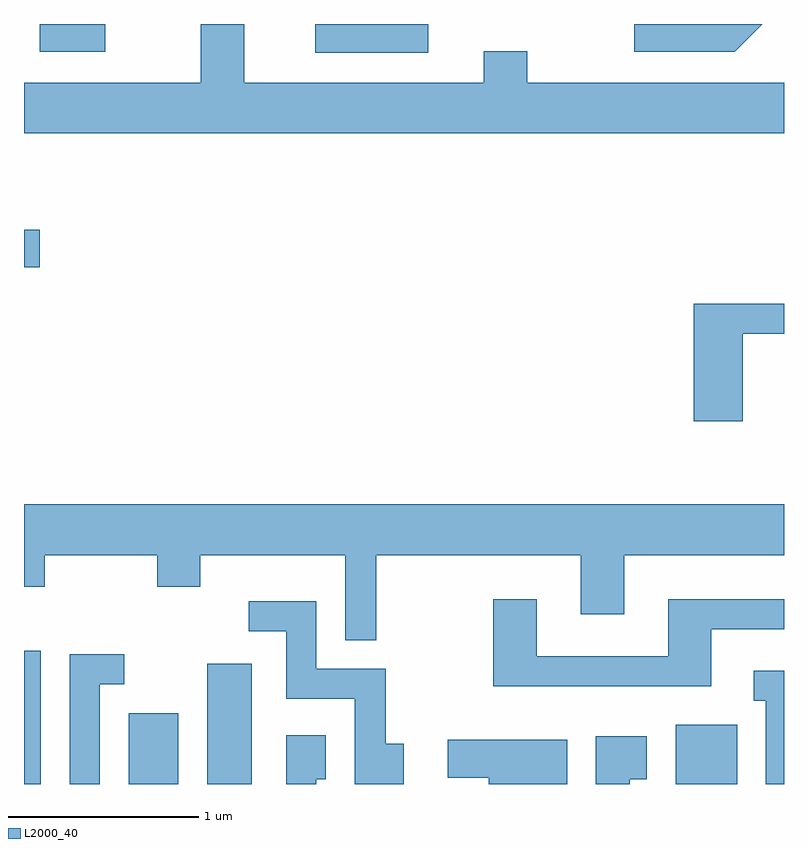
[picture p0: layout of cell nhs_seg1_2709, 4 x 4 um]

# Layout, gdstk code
import gdstk
lib = gdstk.Library(unit=1e-6, precision=1e-09)
def R(c, l, rs):  # rectangles x0, y0, x1, y1
    for r in rs: c.add(gdstk.rectangle(r[:2], r[2:], *l))
def P(c, l, *ps):  # polygons
    for p in ps: c.add(gdstk.Polygon(p, *l))
L2000_40 = (2000, 40)

nhs_seg1_2709 = lib.new_cell('nhs_seg1_2709')
R(nhs_seg1_2709, L2000_40, [(267.611,891.712,267.699,892.414), (268.161,891.712,268.424,892.084), (268.576,891.712,268.809,892.344), (271.041,891.712,271.364,892.024), (267.611,894.431,267.694,894.629), (269.143,895.561,269.739,895.712), (267.693,895.566,268.039,895.712)])
P(nhs_seg1_2709, L2000_40, [(271.611,895.404),(270.259,895.404),(270.259,895.569),(270.031,895.569),(270.031,895.404),(268.769,895.404),(268.769,895.712),(268.541,895.712),(268.541,895.404),(267.611,895.404),(267.611,895.136),(271.611,895.136)],
  [(271.497,895.712),(270.823,895.712),(270.823,895.566),(271.352,895.566)],
  [(271.394,894.081),(271.611,894.081),(271.611,894.239),(271.136,894.239),(271.136,893.621),(271.394,893.621)],
  [(269.464,892.916),(270.541,892.916),(270.541,892.606),(270.769,892.606),(270.769,892.916),(271.611,892.916),(271.611,893.184),(267.611,893.184),(267.611,892.751),(267.719,892.751),(267.719,892.916),(268.311,892.916),(268.311,892.751),(268.539,892.751),(268.539,892.916),(269.301,892.916),(269.301,892.468),(269.464,892.468)],
  [(271.229,892.526),(271.611,892.526),(271.611,892.684),(271.001,892.684),(271.001,892.384),(270.309,892.384),(270.309,892.684),(270.081,892.684),(270.081,892.226),(271.229,892.226)],
  [(269.609,891.924),(269.514,891.924),(269.514,892.319),(269.149,892.319),(269.149,892.674),(268.793,892.674),(268.793,892.516),(268.991,892.516),(268.991,892.161),(269.351,892.161),(269.351,891.712),(269.609,891.712)],
  [(268.009,892.236),(268.138,892.236),(268.138,892.394),(267.851,892.394),(267.851,891.712),(268.009,891.712)],
  [(271.611,892.309),(271.453,892.309),(271.453,892.151),(271.516,892.151),(271.516,891.712),(271.611,891.712)],
  [(269.149,891.736),(269.199,891.736),(269.199,891.969),(268.991,891.969),(268.991,891.712),(269.149,891.712)],
  [(270.799,891.736),(270.889,891.736),(270.889,891.964),(270.621,891.964),(270.621,891.712),(270.799,891.712)],
  [(270.469,891.944),(269.841,891.944),(269.841,891.746),(270.056,891.746),(270.056,891.712),(270.469,891.712)])

lib.write_gds('nhs_seg1_2709.gds')
